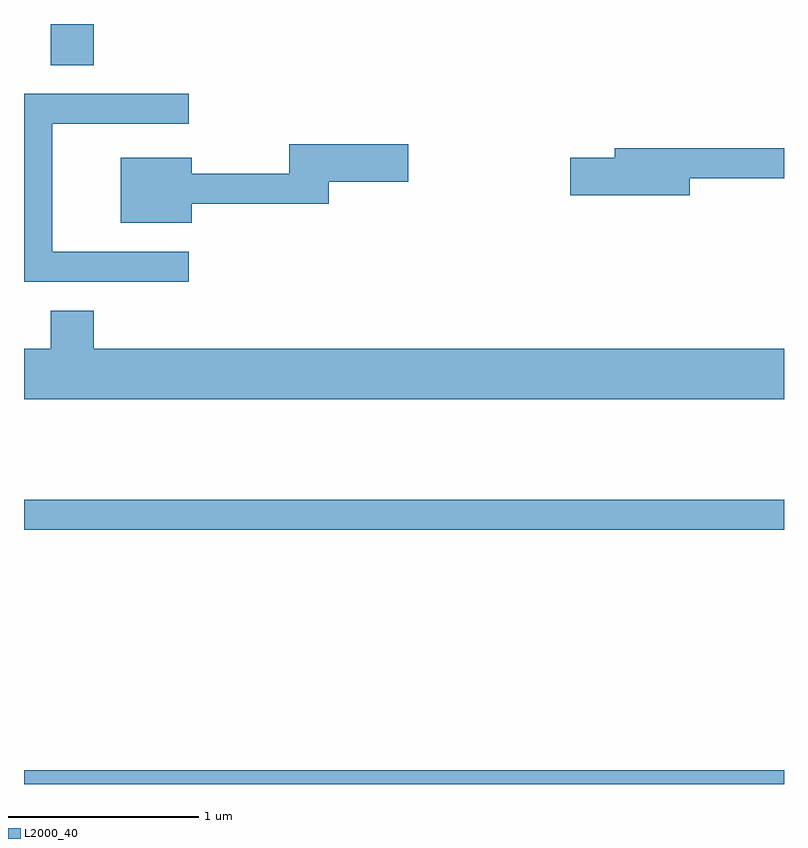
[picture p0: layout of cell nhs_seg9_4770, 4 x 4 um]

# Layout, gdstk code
import gdstk
lib = gdstk.Library(unit=1e-6, precision=1e-09)
def R(c, l, rs):  # rectangles x0, y0, x1, y1
    for r in rs: c.add(gdstk.rectangle(r[:2], r[2:], *l))
def P(c, l, *ps):  # polygons
    for p in ps: c.add(gdstk.Polygon(p, *l))
L2000_40 = (2000, 40)

nhs_seg9_4770 = lib.new_cell('nhs_seg9_4770')
R(nhs_seg9_4770, L2000_40, [(325.611,2016.432,329.611,2016.504), (325.611,2017.771,329.611,2017.929), (325.751,2020.216,325.979,2020.432)])
P(nhs_seg9_4770, L2000_40, [(326.478,2019.234),(325.759,2019.234),(325.759,2019.906),(326.478,2019.906),(326.478,2020.064),(325.611,2020.064),(325.611,2019.076),(326.478,2019.076)],
  [(326.494,2019.486),(327.214,2019.486),(327.214,2019.601),(327.634,2019.601),(327.634,2019.799),(327.006,2019.799),(327.006,2019.644),(326.494,2019.644),(326.494,2019.729),(326.121,2019.729),(326.121,2019.386),(326.494,2019.386)],
  [(329.114,2019.621),(329.611,2019.621),(329.611,2019.779),(328.721,2019.779),(328.721,2019.729),(328.486,2019.729),(328.486,2019.531),(329.114,2019.531)],
  [(329.611,2018.724),(325.979,2018.724),(325.979,2018.924),(325.751,2018.924),(325.751,2018.724),(325.611,2018.724),(325.611,2018.456),(329.611,2018.456)])

lib.write_gds('nhs_seg9_4770.gds')
